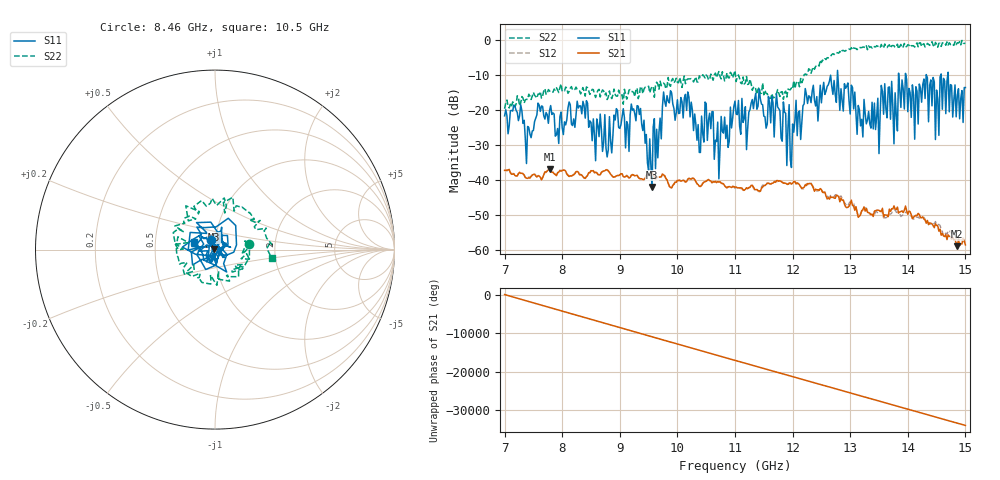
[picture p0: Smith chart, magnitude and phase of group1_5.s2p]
! 4/11/2025 3:25:18 PM
! C:\ANRITSUVNA\LELEC2350\LAB1_2025\GROUP1_5.S2P
! CHANNEL.1
! TR.MEASUREMENT
! CORRECTED.DATA
! RF.CORRECTION: FULL.TWO.PORT.CAL.PORT.1.2
! AVERAGING.OFF
! IF.BANDWIDTH: 300HZ
! SWEEPTYPE:  FREQ.SWEEP(Linear)
! Reference Plane Port Info
! PORT:  PORT1  PORT2
! DISTANCE:  0  m  0  m
! TIME:  0  s  0  s
! PHASE.OFFSET:  0 °  0 °
! LOSS:  0  dB  0  dB
! REF.LOSS:  0  dB  0  dB
! REF.FREQ:  0  Hz  0  Hz
! Power Info
! POWER:  5  dBm  5  dBm
! EFF.POWER:  5  dBm  5  dBm
# GHZ S RI R 50.0
! FREQ.GHZ  S11RE  S11IM  S21RE  S21IM  S12RE  S12IM  S22RE  S22IM
!; PortSelection: Port_12
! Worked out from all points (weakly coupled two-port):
!   401 points, 7 GHz to 15 GHz, reference 50 ohm
!   highest |S21| = -36.89 dB at 7.78 GHz (marker M1); lowest = -59.0 dB at 14.86 GHz (marker M2)
!   lowest |S11| = -42.0 dB at 9.56 GHz (marker M3), VSWR 1.02, Z = 49.2 + j0.0805 ohm
!   |S11| at or under -10 dB: start of sweep to 12.66 GHz; 12.79 GHz to 13.84 GHz (1.054 GHz wide, 7.92 % of centre); 13.97 GHz to 14.32 GHz (353.5 MHz wide, 2.5 % of centre) (the widest 3 of 8)
!   |S22| runs from -19.6 to 0.0 dB; largest |S21 - S12| = 0.00082
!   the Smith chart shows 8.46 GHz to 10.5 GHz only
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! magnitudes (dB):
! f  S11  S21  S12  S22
! 7 GHz  -21.6  -37.3  -37.3  -19.6
! 7.4 GHz  -24.7  -39.6  -39.3  -16.9
! 7.78 GHz  -20.2  -36.9  -36.9  -14.6
! 8.34 GHz  -21.1  -38.7  -38.6  -14.3
! 8.82 GHz  -21.9  -37.8  -37.8  -14.5
! 9.32 GHz  -18.9  -39.2  -39.2  -16.7
! 9.52 GHz  -28.2  -38.6  -38.6  -15.0
! 9.56 GHz  -42.0  -38.0  -37.9  -13.3
! 9.68 GHz  -26.4  -39.2  -39.2  -14.0
! 9.86 GHz  -17.9  -41.8  -41.8  -12.8
! 10.16 GHz  -20.1  -40.5  -40.4  -11.3
! 10.36 GHz  -24.1  -41.4  -41.2  -11.9
! 10.58 GHz  -25.3  -40.3  -40.4  -9.7
! 10.68 GHz  -29.0  -40.7  -40.7  -10.7
! 11 GHz  -17.4  -42.1  -42.4  -8.7
! 11.74 GHz  -19.1  -40.2  -40.4  -14.1
! 11.94 GHz  -18.4  -40.9  -41.0  -14.1
! 12.34 GHz  -14.6  -41.6  -41.5  -8.4
! 13.48 GHz  -16.6  -48.7  -49.5  -1.7
! 13.68 GHz  -13.3  -48.4  -49.7  -1.3
! 14.86 GHz  -15.8  -59.0  -57.6  -0.7
! 15 GHz  -13.5  -58.6  -57.7  -0.8
